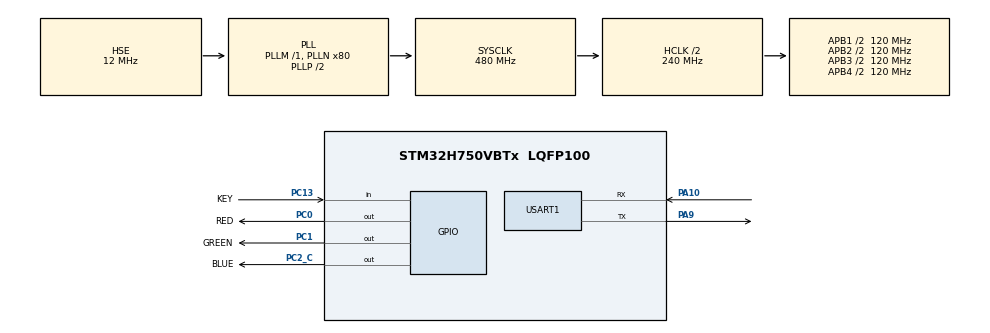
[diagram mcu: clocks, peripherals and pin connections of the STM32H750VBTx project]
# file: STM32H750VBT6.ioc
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CORTEX_M7.CPU_DCache=Enabled
CORTEX_M7.CPU_ICache=Enabled
CORTEX_M7.MPU_Control=__NULL
Mcu.Family=STM32H7
Mcu.Name=STM32H750VBTx
Mcu.Package=LQFP100
NVIC.PriorityGroup=NVIC_PRIORITYGROUP_4
NVIC.USART1_IRQn=true\:0\:0\:false\:false\:true\:true\:true
PA10.Mode=Asynchronous
PA10.Signal=USART1_RX
PA13\ (JTMS/SWDIO).Mode=Serial_Wire
PA13\ (JTMS/SWDIO).Signal=DEBUG_JTMS-SWDIO
PA14\ (JTCK/SWCLK).Mode=Serial_Wire
PA14\ (JTCK/SWCLK).Signal=DEBUG_JTCK-SWCLK
PA9.Mode=Asynchronous
PA9.Signal=USART1_TX
PC0.GPIO_Label=RED
PC0.GPIO_PuPd=GPIO_PULLUP
PC0.PinState=GPIO_PIN_SET
PC0.Signal=GPIO_Output
PC1.GPIO_Label=GREEN
PC1.GPIO_PuPd=GPIO_PULLUP
PC1.GPIO_Speed=GPIO_SPEED_FREQ_LOW
PC1.PinState=GPIO_PIN_SET
PC1.Signal=GPIO_Output
PC13.GPIO_Label=KEY
PC13.GPIO_PuPd=GPIO_PULLUP
PC13.Signal=GPIO_Input
PC14-OSC32_IN\ (OSC32_IN).Mode=LSE-External-Oscillator
PC14-OSC32_IN\ (OSC32_IN).Signal=RCC_OSC32_IN
PC15-OSC32_OUT\ (OSC32_OUT).Mode=LSE-External-Oscillator
PC15-OSC32_OUT\ (OSC32_OUT).Signal=RCC_OSC32_OUT
PC2_C.GPIO_Label=BLUE
PC2_C.GPIO_PuPd=GPIO_PULLUP
PC2_C.PinState=GPIO_PIN_SET
PC2_C.Signal=GPIO_Output
PH0-OSC_IN\ (PH0).Mode=HSE-External-Oscillator
PH0-OSC_IN\ (PH0).Signal=RCC_OSC_IN
PH1-OSC_OUT\ (PH1).Mode=HSE-External-Oscillator
PH1-OSC_OUT\ (PH1).Signal=RCC_OSC_OUT
ProjectManager.HeapSize=0x800
ProjectManager.StackSize=0x800
ProjectManager.TargetToolchain=MDK-ARM V5
RCC.ADCFreq_Value=480000000
RCC.APB1Freq_Value=120000000
RCC.APB2Freq_Value=120000000
RCC.APB3Freq_Value=120000000
RCC.APB4Freq_Value=120000000
RCC.CortexFreq_Value=480000000
RCC.D1PPRE=RCC_APB3_DIV2
RCC.D2PPRE1=RCC_APB1_DIV2
RCC.D2PPRE2=RCC_APB2_DIV2
RCC.D3PPRE=RCC_APB4_DIV2
RCC.DIVM1=1
RCC.DIVM2=1
RCC.DIVM3=1
RCC.DIVN1=80
RCC.DIVN2=80
RCC.DIVN3=80
RCC.FLatency=FLASH_LATENCY_4
RCC.HCLKFreq_Value=240000000
RCC.HPRE=RCC_HCLK_DIV2
RCC.HSE_VALUE=12000000
RCC.PLLFRACN=0
RCC.PLLSourceVirtual=RCC_PLLSOURCE_HSE
RCC.PWR_Regulator_Voltage_Scale=PWR_REGULATOR_VOLTAGE_SCALE0
RCC.ProductRev=revV
RCC.SYSCLKFreq_VALUE=480000000
RCC.SYSCLKSource=RCC_SYSCLKSOURCE_PLLCLK
RCC.USBFreq_Value=480000000
USART1.VirtualMode-Asynchronous=VM_ASYNC
board=custom

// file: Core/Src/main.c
/* USER CODE BEGIN Header */
/**
  ******************************************************************************
  * @file           : main.c
  * @brief          : Main program body
  ******************************************************************************
  * @attention
  *
  * <h2><center>&copy; Copyright (c) 2021 STMicroelectronics.
  * All rights reserved.</center></h2>
  *
  * This software component is licensed by ST under BSD 3-Clause license,
  * the "License"; You may not use this file except in compliance with the
  * License. You may obtain a copy of the License at:
  *                        opensource.org/licenses/BSD-3-Clause
  *
  ******************************************************************************
  */
/* USER CODE END Header */
#include "main.h"
#include "usart.h"
#include "gpio.h"

/* USER CODE BEGIN Includes */
#include "BSP_GPIO.h"
#include "BSP_USART.h"
/* USER CODE END Includes */

void SystemClock_Config(void);

int main(void)
{
  /* USER CODE BEGIN 1 */
	u8 t;
	u8 key;
	u8 key_mode=0;//key_mode=1支持连按 key_mode=0不支持连按
  /* USER CODE END 1 */

  /* Enable I-Cache---------------------------------------------------------*/
  SCB_EnableICache();

  /* Enable D-Cache---------------------------------------------------------*/
  SCB_EnableDCache();

  /* MCU Configuration--------------------------------------------------------*/

  /* Reset of all peripherals, Initializes the Flash interface and the Systick. */
  HAL_Init();

  /* Configure the system clock */
  SystemClock_Config();

  /* Initialize all configured peripherals */
  MX_GPIO_Init();
  MX_USART1_UART_Init();
  /* USER CODE BEGIN 2 */

	HAL_UART_Receive_IT(&huart1, &rx1_buf, 1);

  /* USER CODE END 2 */

  /* Infinite loop */
  /* USER CODE BEGIN WHILE */
  while (1)
  {
		if(key_mode==1)
		{key=1;}

		if(key&&(HAL_GPIO_ReadPin(KEY_GPIO_Port,KEY_Pin)==0))
		{
			key=0;
			LED_G_TogglePin;
			printf("KEY TEST!\r\n");	//提示传送完成
		}
		else if(HAL_GPIO_ReadPin(KEY_GPIO_Port,KEY_Pin)==1)
			key=1;

		if(t%50==0)
		{
			LED_R_TogglePin;
			t=0;
		}

		t++;
		HAL_Delay(10);
    /* USER CODE END WHILE */

  }
}

void SystemClock_Config(void)
{
  RCC_OscInitTypeDef RCC_OscInitStruct = {0};
  RCC_ClkInitTypeDef RCC_ClkInitStruct = {0};

  /** Supply configuration update enable
  */
  HAL_PWREx_ConfigSupply(PWR_LDO_SUPPLY);
  /** Configure the main internal regulator output voltage
  */
  __HAL_PWR_VOLTAGESCALING_CONFIG(PWR_REGULATOR_VOLTAGE_SCALE0);

  while(!__HAL_PWR_GET_FLAG(PWR_FLAG_VOSRDY)) {}
  /** Initializes the RCC Oscillators according to the specified parameters
  * in the RCC_OscInitTypeDef structure.
  */
  RCC_OscInitStruct.OscillatorType = RCC_OSCILLATORTYPE_HSE;
  RCC_OscInitStruct.HSEState = RCC_HSE_ON;
  RCC_OscInitStruct.PLL.PLLState = RCC_PLL_ON;
  RCC_OscInitStruct.PLL.PLLSource = RCC_PLLSOURCE_HSE;
  RCC_OscInitStruct.PLL.PLLM = 1;
  RCC_OscInitStruct.PLL.PLLN = 80;
  RCC_OscInitStruct.PLL.PLLP = 2;
  RCC_OscInitStruct.PLL.PLLQ = 2;
  RCC_OscInitStruct.PLL.PLLR = 2;
  RCC_OscInitStruct.PLL.PLLRGE = RCC_PLL1VCIRANGE_3;
  RCC_OscInitStruct.PLL.PLLVCOSEL = RCC_PLL1VCOWIDE;
  RCC_OscInitStruct.PLL.PLLFRACN = 0;
  if (HAL_RCC_OscConfig(&RCC_OscInitStruct) != HAL_OK)
  {
    Error_Handler();
  }
  /** Initializes the CPU, AHB and APB buses clocks
  */
  RCC_ClkInitStruct.ClockType = RCC_CLOCKTYPE_HCLK|RCC_CLOCKTYPE_SYSCLK
                              |RCC_CLOCKTYPE_PCLK1|RCC_CLOCKTYPE_PCLK2
                              |RCC_CLOCKTYPE_D3PCLK1|RCC_CLOCKTYPE_D1PCLK1;
  RCC_ClkInitStruct.SYSCLKSource = RCC_SYSCLKSOURCE_PLLCLK;
  RCC_ClkInitStruct.SYSCLKDivider = RCC_SYSCLK_DIV1;
  RCC_ClkInitStruct.AHBCLKDivider = RCC_HCLK_DIV2;
  RCC_ClkInitStruct.APB3CLKDivider = RCC_APB3_DIV2;
  RCC_ClkInitStruct.APB1CLKDivider = RCC_APB1_DIV2;
  RCC_ClkInitStruct.APB2CLKDivider = RCC_APB2_DIV2;
  RCC_ClkInitStruct.APB4CLKDivider = RCC_APB4_DIV2;

  if (HAL_RCC_ClockConfig(&RCC_ClkInitStruct, FLASH_LATENCY_4) != HAL_OK)
  {
    Error_Handler();
  }
}

void Error_Handler(void)
{
  __disable_irq();
  while (1)
  {
  }
}

/************************ (C) COPYRIGHT STMicroelectronics *****END OF FILE****/
